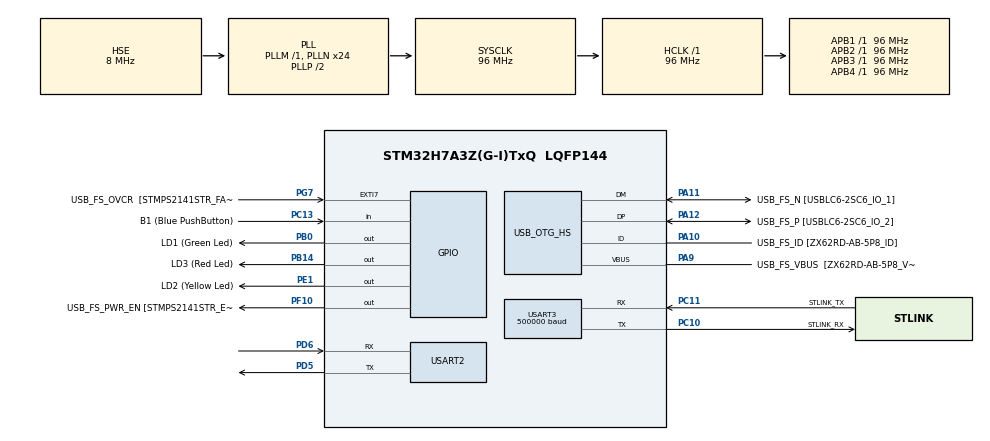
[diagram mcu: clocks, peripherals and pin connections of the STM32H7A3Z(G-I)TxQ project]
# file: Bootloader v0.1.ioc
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Mcu.Family=STM32H7
Mcu.Name=STM32H7A3Z(G-I)TxQ
Mcu.Package=LQFP144
NVIC.PriorityGroup=NVIC_PRIORITYGROUP_4
PA10.GPIO_Label=USB_FS_ID [ZX62RD-AB-5P8_ID]
PA10.Mode=OTG/Dual-Role-Device-FS
PA10.Signal=USB_OTG_HS_ID
PA11.GPIO_Label=USB_FS_N [USBLC6-2SC6_IO_1]
PA11.Mode=OTG/Dual-Role-Device-FS
PA11.Signal=USB_OTG_HS_DM
PA12.GPIO_Label=USB_FS_P [USBLC6-2SC6_IO_2]
PA12.Mode=OTG/Dual-Role-Device-FS
PA12.Signal=USB_OTG_HS_DP
PA9.GPIO_Label=USB_FS_VBUS  [ZX62RD-AB-5P8_VBUS]
PA9.Mode=Activate_VBUS_FS
PA9.Signal=USB_OTG_HS_VBUS
PB0.GPIO_Label=LD1 (Green Led)
PB0.Signal=GPIO_Output
PB14.GPIO_Label=LD3 (Red Led)
PB14.Signal=GPIO_Output
PC10.GPIO_Label=STLINK_RX
PC10.Mode=Asynchronous
PC10.Signal=USART3_TX
PC11.GPIO_Label=STLINK_TX
PC11.Mode=Asynchronous
PC11.Signal=USART3_RX
PC13.GPIO_Label=B1 (Blue PushButton)
PC13.Signal=GPIO_Input
PC14-OSC32_IN.GPIO_Label=OSC32_IN
PC14-OSC32_IN.Mode=LSE-External-Oscillator
PC14-OSC32_IN.Signal=RCC_OSC32_IN
PC15-OSC32_OUT.GPIO_Label=OSC32_OUT
PC15-OSC32_OUT.Mode=LSE-External-Oscillator
PC15-OSC32_OUT.Signal=RCC_OSC32_OUT
PD5.Mode=Asynchronous
PD5.Signal=USART2_TX
PD6.Mode=Asynchronous
PD6.Signal=USART2_RX
PE1.GPIO_Label=LD2 (Yellow Led)
PE1.Signal=GPIO_Output
PF10.GPIO_Label=USB_FS_PWR_EN [STMPS2141STR_EN]
PF10.Signal=GPIO_Output
PG7.GPIO_Label=USB_FS_OVCR  [STMPS2141STR_FAULT]
PG7.Signal=GPXTI7
PH0-OSC_IN.GPIO_Label=PH0-MCU
PH0-OSC_IN.Mode=HSE-External-Clock-Source
PH0-OSC_IN.Signal=RCC_OSC_IN
PH1-OSC_OUT.GPIO_Label=PH1-MCU
PH1-OSC_OUT.Signal=RCC_OSC_OUT
ProjectManager.HeapSize=0x200
ProjectManager.StackSize=0x400
ProjectManager.TargetToolchain=STM32CubeIDE
RCC.ADCFreq_Value=16125000
RCC.APB1Freq_Value=96000000
RCC.APB2Freq_Value=96000000
RCC.APB3Freq_Value=96000000
RCC.APB4Freq_Value=96000000
RCC.CortexFreq_Value=96000000
RCC.DIVM1=1
RCC.DIVM3=1
RCC.DIVN1=24
RCC.DIVN3=24
RCC.DIVQ1=4
RCC.HCLKFreq_Value=96000000
RCC.HSE_VALUE=8000000
RCC.PLLSourceVirtual=RCC_PLLSOURCE_HSE
RCC.SYSCLKFreq_VALUE=96000000
RCC.SYSCLKSource=RCC_SYSCLKSOURCE_PLLCLK
RCC.SupplySource=PWR_DIRECT_SMPS_SUPPLY
RCC.USBCLockSelection=RCC_USBCLKSOURCE_HSI48
RCC.USBFreq_Value=48000000
USART2.VirtualMode-Asynchronous=VM_ASYNC
USART3.BaudRate=500000
USART3.VirtualMode-Asynchronous=VM_ASYNC
VP_MEMORYMAP_VS_MEMORYMAP.Mode=CurAppReg
board=NUCLEO-H7A3ZI-Q

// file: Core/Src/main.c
/* USER CODE BEGIN Header */
/**
  ******************************************************************************
  * @file           : main.c
  * @brief          : Main program body
  ******************************************************************************
  * @attention
  *
  * Copyright (c) 2024 STMicroelectronics.
  * All rights reserved.
  *
  * This software is licensed under terms that can be found in the LICENSE file
  * in the root directory of this software component.
  * If no LICENSE file comes with this software, it is provided AS-IS.
  *
  ******************************************************************************
  */
/* USER CODE END Header */
#include "main.h"
#include "memorymap.h"
#include "usart.h"
#include "usb_otg.h"
#include "gpio.h"

/* USER CODE BEGIN Includes */
#include "bootloader.h"
/* USER CODE END Includes */

void SystemClock_Config(void);

int main(void)
{

  /* MCU Configuration--------------------------------------------------------*/

  /* Reset of all peripherals, Initializes the Flash interface and the Systick. */
  HAL_Init();

  /* Configure the system clock */
  SystemClock_Config();

  /* Initialize all configured peripherals */
  MX_GPIO_Init();
  MX_USB_OTG_HS_USB_Init();
  MX_USART2_UART_Init();
  MX_USART3_UART_Init();
  /* USER CODE BEGIN 2 */
  uint32_t red_ctr = HAL_GetTick();
  uint32_t runApp_ctr = HAL_GetTick();
  uint32_t btn_ctr = HAL_GetTick();
  uint8_t app_flag = 1;
  uint8_t upload_flag = 0;
  /* USER CODE END 2 */

  /* Infinite loop */
  /* USER CODE BEGIN WHILE */
  while (1)
  {

	  //	  HAL_GPIO_ReadPin(GPIOC, GPIO_PIN_13);
	  if(HAL_GPIO_ReadPin(GPIOC, GPIO_PIN_13) == 1){
		  runApp_ctr = HAL_GetTick();
		  app_flag = 2;
	  	if(HAL_GetTick() - btn_ctr > 2000){
	  	  if(ready_to_upload()){
	  		HAL_NVIC_SystemReset();
	  	  }
	  	  else{
	  		  // upload error!!
	  	  }
	  	}
	  }
	  else
		  btn_ctr = HAL_GetTick();

	  if (HAL_GetTick() - red_ctr > 1000) {
	  	HAL_GPIO_TogglePin(GPIOB, GPIO_PIN_14); // red led blink
	  	red_ctr = HAL_GetTick();
	  }

	  if (HAL_GetTick() - runApp_ctr > 5000 && upload_flag == 0) {
		  HAL_GPIO_WritePin(GPIOB, GPIO_PIN_14, GPIO_PIN_RESET);
		  HAL_GPIO_WritePin(GPIOE, GPIO_PIN_1, GPIO_PIN_RESET);
		  HAL_GPIO_WritePin(GPIOB, GPIO_PIN_0, GPIO_PIN_RESET);
		  if(app_flag == 1)
			  runApplication(APP1); // run the app
		  else if(app_flag == 2)
		  	  runApplication(APP2); // run the app
	  }
//	  uart_mirror();

    /* USER CODE END WHILE */

  }
}

void SystemClock_Config(void)
{
  RCC_OscInitTypeDef RCC_OscInitStruct = {0};
  RCC_ClkInitTypeDef RCC_ClkInitStruct = {0};

  /*AXI clock gating */
  RCC->CKGAENR = 0xFFFFFFFF;

  /** Supply configuration update enable
  */
  HAL_PWREx_ConfigSupply(PWR_DIRECT_SMPS_SUPPLY);

  /** Configure the main internal regulator output voltage
  */
  __HAL_PWR_VOLTAGESCALING_CONFIG(PWR_REGULATOR_VOLTAGE_SCALE2);

  while(!__HAL_PWR_GET_FLAG(PWR_FLAG_VOSRDY)) {}

  /** Initializes the RCC Oscillators according to the specified parameters
  * in the RCC_OscInitTypeDef structure.
  */
  RCC_OscInitStruct.OscillatorType = RCC_OSCILLATORTYPE_HSI48|RCC_OSCILLATORTYPE_HSE;
  RCC_OscInitStruct.HSEState = RCC_HSE_BYPASS;
  RCC_OscInitStruct.HSI48State = RCC_HSI48_ON;
  RCC_OscInitStruct.PLL.PLLState = RCC_PLL_ON;
  RCC_OscInitStruct.PLL.PLLSource = RCC_PLLSOURCE_HSE;
  RCC_OscInitStruct.PLL.PLLM = 1;
  RCC_OscInitStruct.PLL.PLLN = 24;
  RCC_OscInitStruct.PLL.PLLP = 2;
  RCC_OscInitStruct.PLL.PLLQ = 4;
  RCC_OscInitStruct.PLL.PLLR = 2;
  RCC_OscInitStruct.PLL.PLLRGE = RCC_PLL1VCIRANGE_3;
  RCC_OscInitStruct.PLL.PLLVCOSEL = RCC_PLL1VCOWIDE;
  RCC_OscInitStruct.PLL.PLLFRACN = 0;
  if (HAL_RCC_OscConfig(&RCC_OscInitStruct) != HAL_OK)
  {
    Error_Handler();
  }

  /** Initializes the CPU, AHB and APB buses clocks
  */
  RCC_ClkInitStruct.ClockType = RCC_CLOCKTYPE_HCLK|RCC_CLOCKTYPE_SYSCLK
                              |RCC_CLOCKTYPE_PCLK1|RCC_CLOCKTYPE_PCLK2
                              |RCC_CLOCKTYPE_D3PCLK1|RCC_CLOCKTYPE_D1PCLK1;
  RCC_ClkInitStruct.SYSCLKSource = RCC_SYSCLKSOURCE_PLLCLK;
  RCC_ClkInitStruct.SYSCLKDivider = RCC_SYSCLK_DIV1;
  RCC_ClkInitStruct.AHBCLKDivider = RCC_HCLK_DIV1;
  RCC_ClkInitStruct.APB3CLKDivider = RCC_APB3_DIV1;
  RCC_ClkInitStruct.APB1CLKDivider = RCC_APB1_DIV1;
  RCC_ClkInitStruct.APB2CLKDivider = RCC_APB2_DIV1;
  RCC_ClkInitStruct.APB4CLKDivider = RCC_APB4_DIV1;

  if (HAL_RCC_ClockConfig(&RCC_ClkInitStruct, FLASH_LATENCY_2) != HAL_OK)
  {
    Error_Handler();
  }
}

void Error_Handler(void)
{
  __disable_irq();
  while (1)
  {
  }
}
